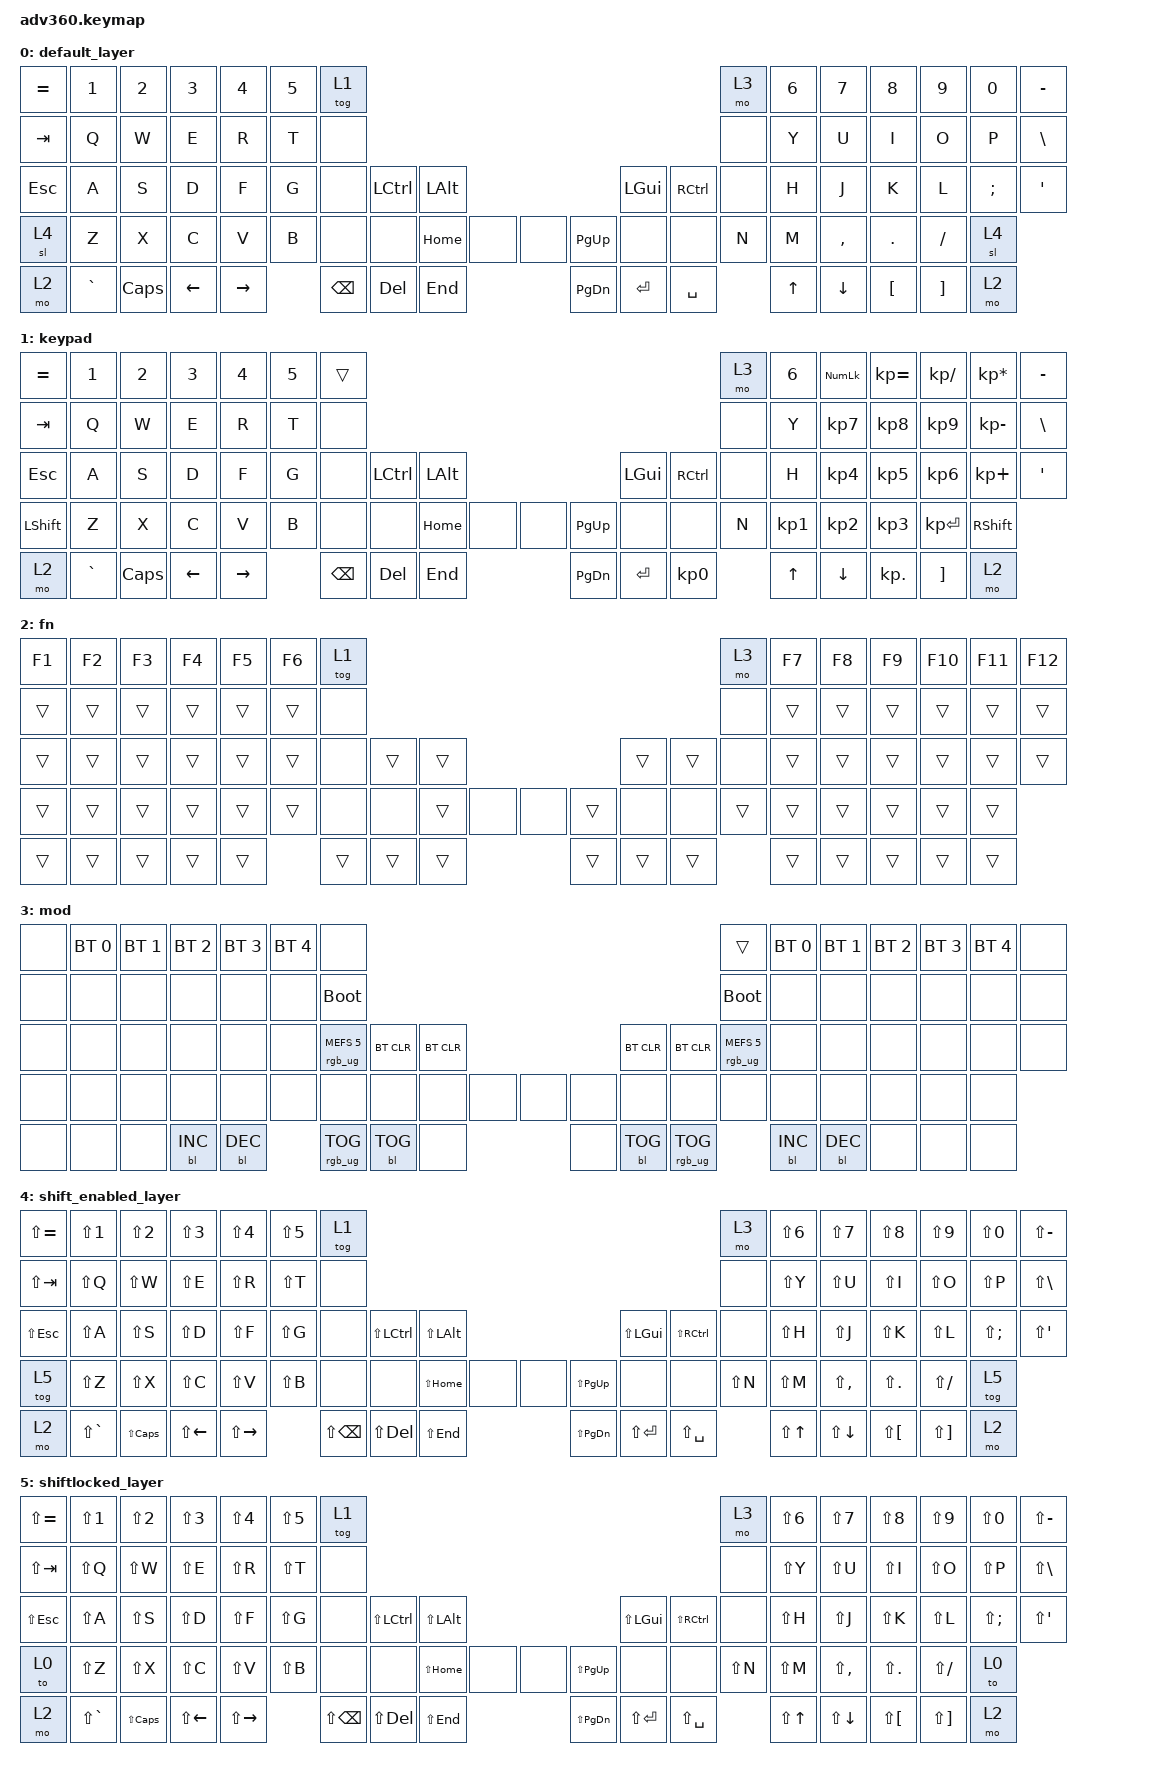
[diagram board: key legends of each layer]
#include <behaviors.dtsi>
#include <dt-bindings/zmk/keys.h>
#include <dt-bindings/zmk/bt.h>
#include <dt-bindings/zmk/rgb.h>
#include <dt-bindings/zmk/backlight.h>

&sl {
    release-after-ms = <9999>;
};

/ {

    behaviors {
      #include "macros.dtsi"

      hm: homerow_mods {
          compatible = "zmk,behavior-hold-tap";
          label = "HOMEROW_MODS";
          #binding-cells = <2>;
          tapping-term-ms = <200>;
          quick_tap_ms = <175>;
          flavor = "tap-preferred";
          bindings = <&kp>, <&kp>;
      };
      /*
      skq: sticky_key_quick_release {
        compatible = "zmk,behavior-sticky-key";
        label = "STICKY_KEY_QUICK_RELEASE";
        #binding-cells = <1>;
        bindings = <&kp>;
        release-after-ms = <1000>;
        quick-release;
        // /delete-property/ release-after-ms;
      };
	  */
      /*
      phone_lshft: phone_style_lshft {
          compatible = "zmk,behavior-tap-dance";
          label = "PHONE_STYLE_LSHFT";
          #binding-cells = <0>;
          tapping-term-ms = <1000>;
          // /delete-property/ tapping-term-ms;
          bindings = <&skq LSHFT>, <&kt LSHFT>, <&kt LSHFT>;
      };
	  */
    };
	
	/*
	macros {
        to_shift_layer: to_shift_layer {
            label = "To shift enabled layer";
            compatible = "zmk,behavior-macro";
            #binding-cells = <0>;
            bindings
                = <&macro_tap & 4>
				, <&macro_tap &skq LSHFT>
                ;
        };
		
		to_shiftlocked_layer: tog_shiftlocked_layer {
			label = "Toggle shiftlocked layer";
			compatible = "zmk,behavior-macro";
			#binding-cells = <0>;
			bindings
                = <&macro_tap &to 5>
                , <&macro_tap &kt RSHFT>
                ;
		};
		
		to_default_layer: tog_default_layer {
			label = "Back to default layer";
			compatible = "zmk,behavior-macro";
			#binding-cells = <0>;
			bindings
                = <&macro_tap &to 0>
                , <&macro_tap &kt RSHFT>
                ;
		};
    };
	*/

  keymap {
    compatible = "zmk,keymap";

    default_layer {
      bindings = <
        &kp EQUAL &kp N1    &kp N2   &kp N3   &kp N4     &kp N5 &tog 1                                                                       &mo 3 &kp N6 &kp N7 &kp N8    &kp N9   &kp N0   &kp MINUS
        &kp TAB   &kp Q     &kp W    &kp E    &kp R      &kp T  &none                                                                        &none &kp Y  &kp U  &kp I     &kp O    &kp P    &kp BSLH
        &kp ESC   &kp A     &kp S    &kp D    &kp F      &kp G  &none           &kp LCTRL &kp LALT             &kp LGUI  &kp RCTRL           &none &kp H  &kp J  &kp K     &kp L    &kp SEMI &kp SQT
        &sl 4 &kp Z     &kp X    &kp C    &kp V      &kp B         &none    &none     &kp HOME &none &none &kp PG_UP &none     &none           &kp N  &kp M  &kp COMMA &kp DOT  &kp FSLH &sl 4
        &mo 2     &kp GRAVE &kp CAPS &kp LEFT &kp RIGHT                &kp BSPC &kp DEL   &kp END              &kp PG_DN &kp ENTER &kp SPACE              &kp UP &kp DOWN  &kp LBKT &kp RBKT &mo 2
      >;
    };
    keypad {
      bindings = <
        &kp EQUAL &kp N1    &kp N2   &kp N3   &kp N4     &kp N5 &trans                                                                       &mo 3 &kp N6 &kp KP_NUM &kp KP_EQUAL &kp KP_DIVIDE &kp KP_MULTIPLY &kp MINUS
        &kp TAB   &kp Q     &kp W    &kp E    &kp R      &kp T  &none                                                                        &none &kp Y  &kp KP_N7  &kp KP_N8    &kp KP_N9     &kp KP_MINUS    &kp BSLH
        &kp ESC   &kp A     &kp S    &kp D    &kp F      &kp G  &none           &kp LCTRL &kp LALT             &kp LGUI  &kp RCTRL           &none &kp H  &kp KP_N4  &kp KP_N5    &kp KP_N6     &kp KP_PLUS     &kp SQT
        &kp LSHFT &kp Z     &kp X    &kp C    &kp V      &kp B         &none    &none     &kp HOME &none &none &kp PG_UP &none     &none           &kp N  &kp KP_N1  &kp KP_N2    &kp KP_N3     &kp KP_ENTER    &kp RSHFT
        &mo 2     &kp GRAVE &kp CAPS &kp LEFT &kp RIGHT                &kp BSPC &kp DEL   &kp END              &kp PG_DN &kp ENTER &kp KP_N0              &kp UP     &kp DOWN     &kp KP_DOT    &kp RBKT        &mo 2
      >;
    };
    fn {
      bindings = <
        &kp F1 &kp F2 &kp F3 &kp F4 &kp F5 &kp F6 &tog 1                                                       &mo 3 &kp F7 &kp F8 &kp F9 &kp F10 &kp F11 &kp F12
        &trans &trans &trans &trans &trans &trans  &none                                                       &none &trans &trans &trans &trans  &trans  &trans
        &trans &trans &trans &trans &trans &trans  &none        &trans &trans             &trans &trans        &none &trans &trans &trans &trans  &trans  &trans
        &trans &trans &trans &trans &trans &trans        &none  &none  &trans &none &none &trans &none  &none        &trans &trans &trans &trans  &trans  &trans
        &trans &trans &trans &trans &trans               &trans &trans &trans             &trans &trans &trans              &trans &trans &trans  &trans  &trans
      >;
    };
    mod {
      bindings = <
        &none &bt BT_SEL 0 &bt BT_SEL 1 &bt BT_SEL 2 &bt BT_SEL 3 &bt BT_SEL 4 &none                                                                                                          &trans                 &bt BT_SEL 0 &bt BT_SEL 1 &bt BT_SEL 2 &bt BT_SEL 3 &bt BT_SEL 4 &none
        &none &none        &none        &none        &none        &none        &bootloader                                                                                                    &bootloader            &none        &none        &none        &none        &none        &none
        &none &none        &none        &none        &none        &none        &rgb_ug RGB_MEFS_CMD 5                 &bt BT_CLR &bt BT_CLR             &bt BT_CLR &bt BT_CLR                 &rgb_ug RGB_MEFS_CMD 5 &none        &none        &none        &none        &none        &none
        &none &none        &none        &none        &none        &none                               &none           &none      &none      &none &none &none      &none      &none                                  &none        &none        &none        &none        &none        &none
        &none &none        &none        &bl BL_INC   &bl BL_DEC                                       &rgb_ug RGB_TOG &bl BL_TOG &none                  &none      &bl BL_TOG &rgb_ug RGB_TOG                                     &bl BL_INC   &bl BL_DEC   &none        &none        &none
      >;
    };
	
    shift_enabled_layer {
      bindings = <
        &kp LS(EQUAL) &kp LS(N1)    &kp LS(N2)   &kp LS(N3)   &kp LS(N4)     &kp LS(N5) &tog 1                                                                       &mo 3 &kp LS(N6) &kp LS(N7) &kp LS(N8)    &kp LS(N9)   &kp LS(N0)   &kp LS(MINUS)
        &kp LS(TAB)   &kp LS(Q)     &kp LS(W)    &kp LS(E)    &kp LS(R)      &kp LS(T)  &none                                                                        &none &kp LS(Y)  &kp LS(U)  &kp LS(I)     &kp LS(O)    &kp LS(P)    &kp LS(BSLH)
        &kp LS(ESC)   &kp LS(A)     &kp LS(S)    &kp LS(D)    &kp LS(F)      &kp LS(G)  &none           &kp LS(LCTRL) &kp LS(LALT)             &kp LS(LGUI)  &kp LS(RCTRL)           &none &kp LS(H)  &kp LS(J)  &kp LS(K)     &kp LS(L)    &kp LS(SEMI) &kp LS(SQT)
        &tog 5 &kp LS(Z)     &kp LS(X)    &kp LS(C)    &kp LS(V)      &kp LS(B)         &none    &none     &kp LS(HOME) &none &none &kp LS(PG_UP) &none     &none           &kp LS(N)  &kp LS(M)  &kp LS(COMMA) &kp LS(DOT)  &kp LS(FSLH) &tog 5
        &mo 2     &kp LS(GRAVE) &kp LS(CAPS) &kp LS(LEFT) &kp LS(RIGHT)                &kp LS(BSPC) &kp LS(DEL)   &kp LS(END)              &kp LS(PG_DN) &kp LS(ENTER) &kp LS(SPACE)              &kp LS(UP) &kp LS(DOWN)  &kp LS(LBKT) &kp LS(RBKT) &mo 2
      >;
    };
	
	shiftlocked_layer {
      bindings = <
        &kp LS(EQUAL) &kp LS(N1)    &kp LS(N2)   &kp LS(N3)   &kp LS(N4)     &kp LS(N5) &tog 1                                                                       &mo 3 &kp LS(N6) &kp LS(N7) &kp LS(N8)    &kp LS(N9)   &kp LS(N0)   &kp LS(MINUS)
        &kp LS(TAB)   &kp LS(Q)     &kp LS(W)    &kp LS(E)    &kp LS(R)      &kp LS(T)  &none                                                                        &none &kp LS(Y)  &kp LS(U)  &kp LS(I)     &kp LS(O)    &kp LS(P)    &kp LS(BSLH)
        &kp LS(ESC)   &kp LS(A)     &kp LS(S)    &kp LS(D)    &kp LS(F)      &kp LS(G)  &none           &kp LS(LCTRL) &kp LS(LALT)             &kp LS(LGUI)  &kp LS(RCTRL)           &none &kp LS(H)  &kp LS(J)  &kp LS(K)     &kp LS(L)    &kp LS(SEMI) &kp LS(SQT)
        &to 0 &kp LS(Z)     &kp LS(X)    &kp LS(C)    &kp LS(V)      &kp LS(B)         &none    &none     &kp LS(HOME) &none &none &kp LS(PG_UP) &none     &none           &kp LS(N)  &kp LS(M)  &kp LS(COMMA) &kp LS(DOT)  &kp LS(FSLH) &to 0
        &mo 2     &kp LS(GRAVE) &kp LS(CAPS) &kp LS(LEFT) &kp LS(RIGHT)                &kp LS(BSPC) &kp LS(DEL)   &kp LS(END)              &kp LS(PG_DN) &kp LS(ENTER) &kp LS(SPACE)              &kp LS(UP) &kp LS(DOWN)  &kp LS(LBKT) &kp LS(RBKT) &mo 2
      >;
    };	
  };
};
